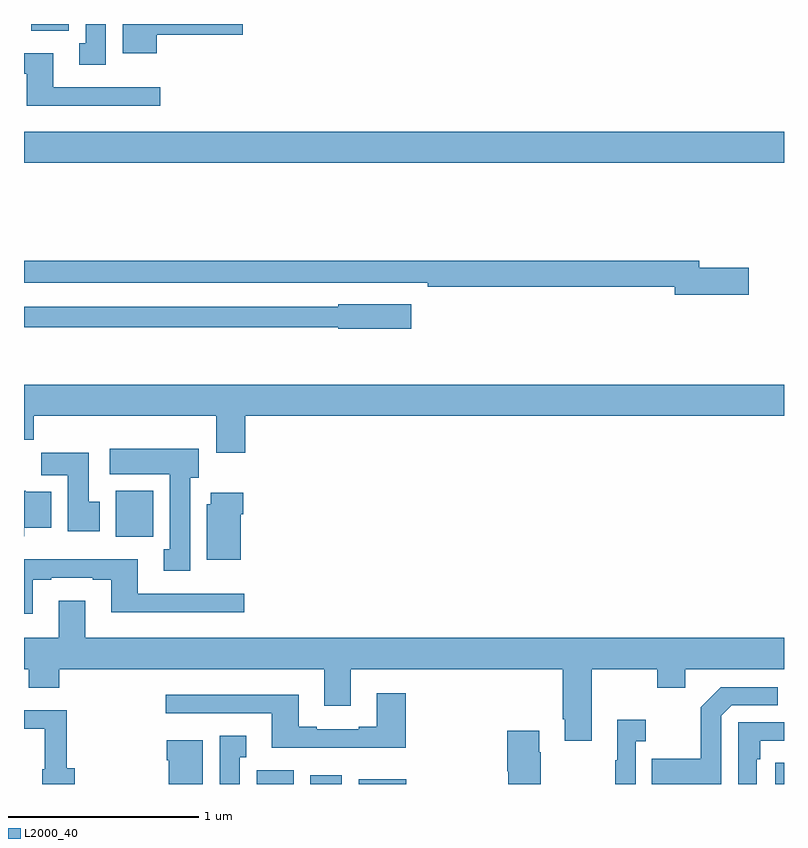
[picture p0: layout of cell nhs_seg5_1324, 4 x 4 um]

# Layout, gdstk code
import gdstk
lib = gdstk.Library(unit=1e-6, precision=1e-09)
def R(c, l, rs):  # rectangles x0, y0, x1, y1
    for r in rs: c.add(gdstk.rectangle(r[:2], r[2:], *l))
def P(c, l, *ps):  # polygons
    for p in ps: c.add(gdstk.Polygon(p, *l))
L2000_40 = (2000, 40)

nhs_seg5_1324 = lib.new_cell('nhs_seg5_1324')
R(nhs_seg5_1324, L2000_40, [(192.224,878.799,192.421,878.872), (192.506,878.799,192.673,878.845), (192.761,878.799,193.012,878.824), (194.955,878.799,195,878.91), (191.483,880.1,191.68,880.342), (191,882.068,195,882.232), (191.039,882.764,191.236,882.799)])
P(nhs_seg5_1324, L2000_40, [(191.431,882.799),(191.324,882.799),(191.324,882.698),(191.291,882.698),(191.291,882.585),(191.431,882.585)],
  [(191.698,882.743),(192.151,882.743),(192.151,882.799),(191.519,882.799),(191.519,882.644),(191.698,882.644)],
  [(191.716,882.465),(191.155,882.465),(191.155,882.646),(191,882.646),(191,882.537),(191.015,882.537),(191.015,882.368),(191.716,882.368)],
  [(194.815,881.516),(194.554,881.516),(194.554,881.552),(191,881.552),(191,881.436),(193.126,881.436),(193.126,881.416),(194.426,881.416),(194.426,881.374),(194.815,881.374)],
  [(193.039,881.323),(192.654,881.323),(192.654,881.31),(191,881.31),(191,881.202),(192.654,881.202),(192.654,881.194),(193.039,881.194)],
  [(192.164,880.736),(195,880.736),(195,880.9),(191,880.9),(191,880.612),(191.051,880.612),(191.051,880.736),(192.011,880.736),(192.011,880.542),(192.164,880.542)],
  [(191.875,880.41),(191.92,880.41),(191.92,880.564),(191.451,880.564),(191.451,880.43),(191.768,880.43),(191.768,880.034),(191.735,880.034),(191.735,879.921),(191.875,879.921)],
  [(191.398,880.284),(191.341,880.284),(191.341,880.543),(191.092,880.543),(191.092,880.424),(191.231,880.424),(191.231,880.128),(191.398,880.128)],
  [(191.002,880.148),(191.143,880.148),(191.143,880.336),(191.01,880.336),(191.01,880.342),(191,880.342),(191,880.104),(191.002,880.104)],
  [(192.142,880.22),(192.155,880.22),(192.155,880.333),(191.984,880.333),(191.984,880.272),(191.963,880.272),(191.963,879.98),(192.142,879.98)],
  [(191.047,879.873),(191.143,879.873),(191.143,879.885),(191.363,879.885),(191.363,879.873),(191.459,879.873),(191.459,879.704),(192.16,879.704),(192.16,879.801),(191.599,879.801),(191.599,879.982),(191,879.982),(191,879.696),(191.047,879.696)],
  [(193.987,879.404),(194.332,879.404),(194.332,879.305),(194.479,879.305),(194.479,879.404),(195,879.404),(195,879.568),(191.323,879.568),(191.323,879.763),(191.183,879.763),(191.183,879.568),(191,879.568),(191,879.404),(191.026,879.404),(191.026,879.305),(191.186,879.305),(191.186,879.404),(192.581,879.404),(192.581,879.21),(192.721,879.21),(192.721,879.404),(193.835,879.404),(193.835,879.139),(193.847,879.139),(193.847,879.027),(193.987,879.027)],
  [(194.67,879.159),(194.724,879.213),(194.968,879.213),(194.968,879.309),(194.667,879.309),(194.562,879.203),(194.562,878.931),(194.305,878.931),(194.305,878.799),(194.67,878.799)],
  [(193.01,879.277),(192.857,879.277),(192.857,879.1),(192.761,879.1),(192.761,879.087),(192.541,879.087),(192.541,879.1),(192.445,879.1),(192.445,879.268),(191.745,879.268),(191.745,879.171),(192.305,879.171),(192.305,878.99),(193.01,878.99)],
  [(191.267,878.881),(191.225,878.881),(191.225,879.186),(191,879.186),(191,879.09),(191.109,879.09),(191.109,878.877),(191.096,878.877),(191.096,878.799),(191.267,878.799)],
  [(194.22,879.023),(194.272,879.023),(194.272,879.136),(194.123,879.136),(194.123,878.923),(194.112,878.923),(194.112,878.799),(194.22,878.799)],
  [(194.856,878.93),(194.876,878.93),(194.876,879.027),(195,879.027),(195,879.123),(194.76,879.123),(194.76,878.799),(194.856,878.799)],
  [(193.719,878.966),(193.711,878.966),(193.711,879.079),(193.544,879.079),(193.544,878.866),(193.549,878.866),(193.549,878.799),(193.719,878.799)],
  [(192.136,878.939),(192.169,878.939),(192.169,879.052),(192.029,879.052),(192.029,878.799),(192.136,878.799)],
  [(191.941,879.028),(191.75,879.028),(191.75,878.924),(191.762,878.924),(191.762,878.799),(191.941,878.799)])

lib.write_gds('nhs_seg5_1324.gds')
